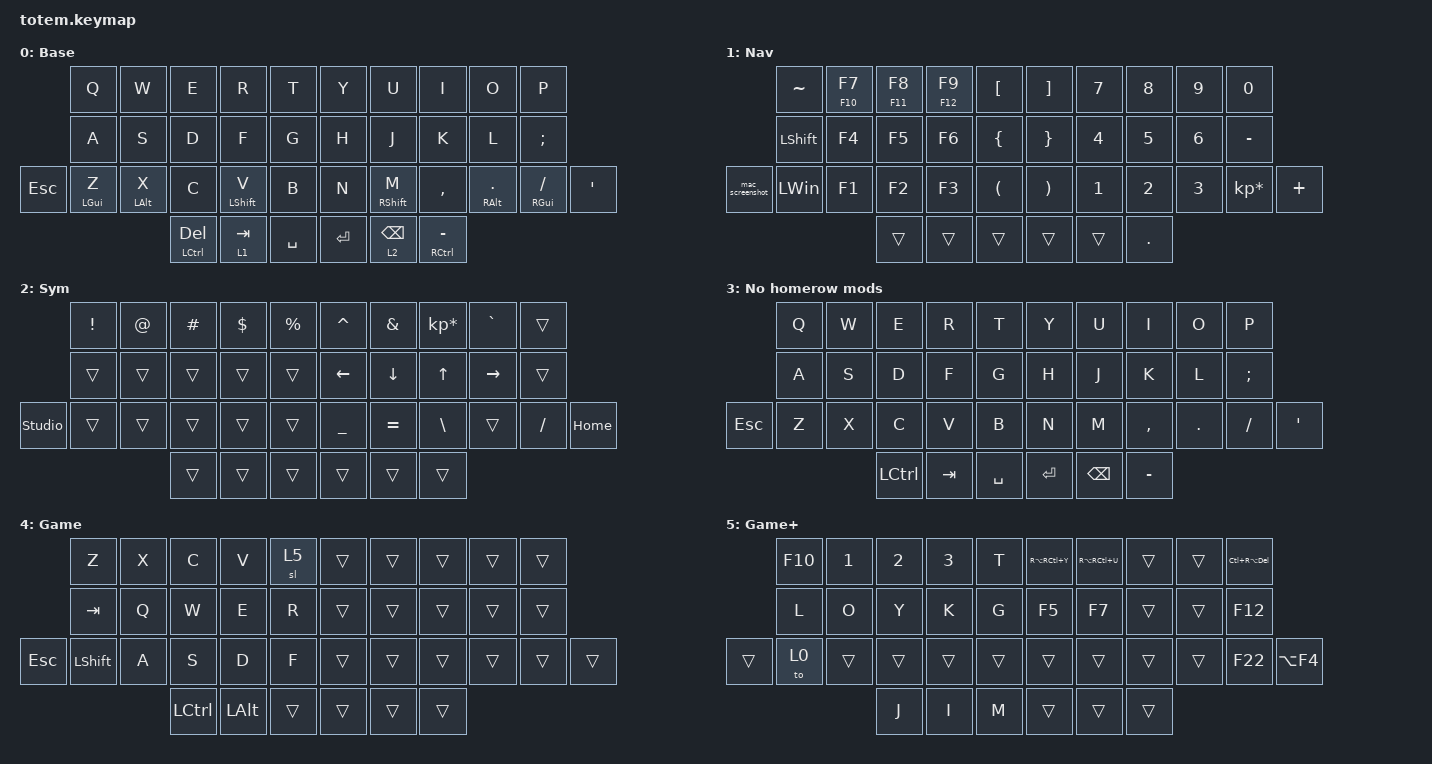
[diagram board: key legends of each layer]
//
//                                                        ▀▀▀▀▀     ▀▀▀▀▀          ▀▀█▀▀
//                                                        ▄▀▀▀▄  ▄  ▄▀▀▀▄  ▄  ▄▀▀▀▄  █  ▄▀▀▀▄
//                                                        █   █  █  █   █  █  █   █  █  █   █
//                                                         ▀▀▀   █   ▀▀▀   █   ▀▀▀   ▀   ▀▀▀
//                                                               █      ▄▄▄█▄▄▄    █   █  
//                                                               ▀      █  █  █     █▄█
//                                                             ▀▀▀▀▀    █  █  █      ▀
//                                                                      ▀  ▀  ▀
//
// ▄▄▄▄▄▄▄▄▄▄▄▄▄▄▄▄▄▄▄▄▄▄▄▄▄▄▄▄▄▄▄▄▄▄▄▄▄▄▄▄▄▄▄▄▄▄▄▄▄▄▄▄▄▄▄▄▄▄▄▄▄▄▄▄▄▄▄▄▄▄▄▄▄▄▄▄▄▄▄▄▄▄▄▄▄▄▄▄▄▄▄▄▄▄▄▄▄▄▄▄▄▄▄▄▄▄▄▄▄▄▄▄▄▄▄▄▄▄▄▄▄▄▄▄▄▄▄▄▄▄▄▄▄▄▄▄▄▄▄▄▄▄▄▄▄▄▄▄▄

#include <behaviors.dtsi>
#include <dt-bindings/zmk/keys.h>

#define Base        0
#define Nav         1
#define Sym         2
#define Fun         3
#define Game        4
#define Gameplus    5

&mt {
    quick-tap-ms = <100>;
    global-quick-tap;
    flavor = "tap-preferred";
    tapping-term-ms = <170>;
};

&lt {
    tapping-term-ms = <240>;
    flavor = "balanced";
    quick-tap-ms = <150>;
};

/ {
    behaviors {
        hm: homerow_mods {
            compatible = "zmk,behavior-hold-tap";
            label = "HOMEROW_MODS";
            #binding-cells = <2>;
            flavor = "tap-preferred";
            tapping-term-ms = <200>;
            quick-tap-ms = <125>;
            global-quick-tap;
            bindings = <&kp>, <&kp>;
        };
    };

    combos {
        compatible = "zmk,combos";

        no_hrm_toggle {
            bindings = <&to 3>;
            key-positions = <32 33 34>;
            layers = <0>;
        };

        base_toggle {
            bindings = <&to 0>;
            key-positions = <37 36 35>;
            layers = <3>;
        };
    };

    macros {
        mac_screenshot: screenshot {
            compatible = "zmk,behavior-macro";
            #binding-cells = <0>;
            bindings = <&kp LG(LS(LC(NUMBER_4)))>;
            label = "SCREENSHOT";
        };
    };

    keymap {
        compatible = "zmk,keymap";

        Base {
            display-name = "Base";
            bindings = <
            &kp Q       &kp W       &kp E          &kp R        &kp T        &kp Y    &kp U        &kp I            &kp O         &kp P
            &kp A       &kp S       &kp D          &kp F        &kp G        &kp H    &kp J        &kp K            &kp L         &kp SEMI
&kp ESCAPE  &hm LGUI Z  &hm LALT X  &kp C          &hm LSHFT V  &kp B        &kp N    &hm RSHFT M  &kp COMMA        &hm RALT DOT  &hm RGUI SLASH  &kp APOSTROPHE
                                    &mt LCTRL DEL  &lt 1 TAB    &kp SPACE    &kp RET  &lt 2 BSPC   &mt RCTRL MINUS
            >;
        };

        Nav {
            display-name = "Nav";
            bindings = <
                 &kp TILDE       &hm F10 F7  &hm F11 F8  &hm F12 F9  &kp LEFT_BRACKET    &kp RIGHT_BRACKET  &kp NUMBER_7  &kp NUMBER_8  &kp NUMBER_9  &kp NUMBER_0
                 &kp LEFT_SHIFT  &kp F4      &kp F5      &kp F6      &kp LEFT_BRACE      &kp RIGHT_BRACE    &kp NUMBER_4  &kp NUMBER_5  &kp NUMBER_6  &kp MINUS
&mac_screenshot  &kp LEFT_WIN    &kp F1      &kp F2      &kp F3      &kp LPAR            &kp RPAR           &kp NUMBER_1  &kp NUMBER_2  &kp NUMBER_3  &kp KP_MULTIPLY  &kp PLUS
                                             &trans      &trans      &trans              &trans             &trans        &kp DOT
            >;
        };

        Sym {
            display-name = "Sym";
            bindings = <
                &kp EXCL  &kp AT  &kp HASH  &kp DOLLAR  &kp PERCENT    &kp CARET       &kp AMPERSAND  &kp KP_ASTERISK  &kp GRAVE        &trans
                &trans    &trans  &trans    &trans      &trans         &kp LEFT_ARROW  &kp DOWN       &kp UP_ARROW     &kp RIGHT_ARROW  &trans
&studio_unlock  &trans    &trans  &trans    &trans      &trans         &kp UNDER       &kp EQUAL      &kp BACKSLASH    &trans           &kp SLASH  &kp HOME
                                  &trans    &trans      &trans         &trans          &trans         &trans
            >;
        };

        no_hrm {
            display-name = "No homerow mods";
            bindings = <
         &kp Q  &kp W  &kp E      &kp R    &kp T        &kp Y      &kp U          &kp I      &kp O       &kp P
         &kp A  &kp S  &kp D      &kp F    &kp G        &kp H      &kp J          &kp K      &kp L       &kp SEMICOLON
&kp ESC  &kp Z  &kp X  &kp C      &kp V    &kp B        &kp N      &kp M          &kp COMMA  &kp PERIOD  &kp SLASH      &kp SQT
                       &kp LCTRL  &kp TAB  &kp SPACE    &kp ENTER  &kp BACKSPACE  &kp MINUS
            >;
        };

        Gaming {
            display-name = "Game";
            bindings = <
            &kp Z           &kp X  &kp C      &kp V         &sl 5     &trans  &trans  &trans  &trans  &trans
            &kp TAB         &kp Q  &kp W      &kp E         &kp R     &trans  &trans  &trans  &trans  &trans
&kp ESCAPE  &kp LEFT_SHIFT  &kp A  &kp S      &kp D         &kp F     &trans  &trans  &trans  &trans  &trans  &trans
                                   &kp LCTRL  &kp LEFT_ALT  &trans    &trans  &trans  &trans
            >;
        };

        Gaming+ {
            display-name = "Game+";
            bindings = <
        &kp F10  &kp NUMBER_1  &kp NUMBER_2  &kp NUMBER_3  &kp T     &kp RA(RC(Y))  &kp RA(RC(U))  &trans  &trans  &kp LC(RA(DEL))
        &kp L    &kp O         &kp Y         &kp K         &kp G     &kp F5         &kp F7         &trans  &trans  &kp F12
&trans  &to 0    &trans        &trans        &trans        &trans    &trans         &trans         &trans  &trans  &kp F22          &kp LA(F4)
                               &kp J         &kp I         &kp M     &trans         &trans         &trans
            >;
        };
    };
};
